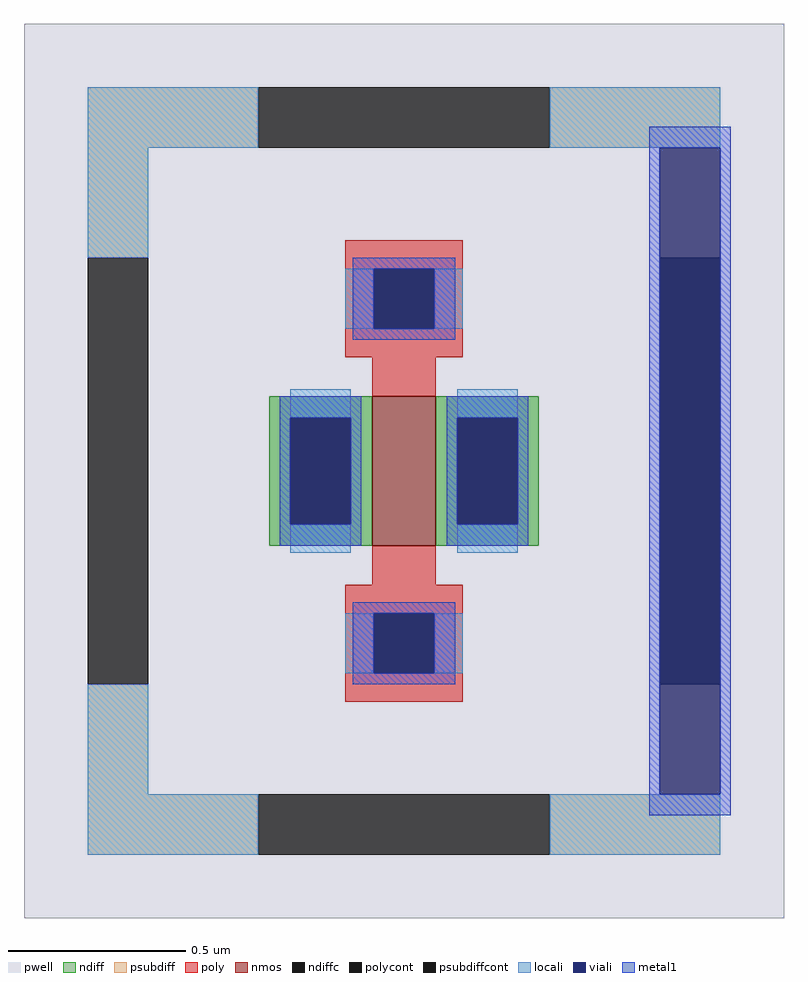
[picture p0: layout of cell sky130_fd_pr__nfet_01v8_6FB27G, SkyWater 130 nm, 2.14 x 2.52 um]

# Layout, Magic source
magic
tech sky130A
magscale 1 2
<< pwell >>
rect -214 -252 214 252
<< nmos >>
rect -18 -42 18 42
<< ndiff >>
rect -76 30 -18 42
rect -76 -30 -64 30
rect -30 -30 -18 30
rect -76 -42 -18 -30
rect 18 30 76 42
rect 18 -30 30 30
rect 64 -30 76 30
rect 18 -42 76 -30
<< ndiffc >>
rect -64 -30 -30 30
rect 30 -30 64 30
<< psubdiff >>
rect -178 182 -82 216
rect 82 182 178 216
rect -178 120 -144 182
rect 144 120 178 182
rect -178 -182 -144 -120
rect 144 -182 178 -120
rect -178 -216 -82 -182
rect 82 -216 178 -182
<< psubdiffcont >>
rect -82 182 82 216
rect -178 -120 -144 120
rect 144 -120 178 120
rect -82 -216 82 -182
<< poly >>
rect -33 114 33 130
rect -33 80 -17 114
rect 17 80 33 114
rect -33 64 33 80
rect -18 42 18 64
rect -18 -64 18 -42
rect -33 -80 33 -64
rect -33 -114 -17 -80
rect 17 -114 33 -80
rect -33 -130 33 -114
<< polycont >>
rect -17 80 17 114
rect -17 -114 17 -80
<< locali >>
rect -178 182 -82 216
rect 82 182 178 216
rect -178 120 -144 182
rect -33 80 -17 114
rect 17 80 33 114
rect -64 30 -30 46
rect -64 -46 -30 -30
rect 30 30 64 46
rect 30 -46 64 -30
rect -33 -114 -17 -80
rect 17 -114 33 -80
rect -178 -182 -144 -120
rect -178 -216 -82 -182
rect 82 -216 178 -182
<< viali >>
rect 144 120 178 182
rect -17 80 17 114
rect -64 -30 -30 30
rect 30 -30 64 30
rect -17 -114 17 -80
rect 144 -120 178 120
rect 144 -182 178 -120
<< metal1 >>
rect 138 182 184 194
rect -29 114 29 120
rect -29 80 -17 114
rect 17 80 29 114
rect -29 74 29 80
rect -70 30 -24 42
rect -70 -30 -64 30
rect -30 -30 -24 30
rect -70 -42 -24 -30
rect 24 30 70 42
rect 24 -30 30 30
rect 64 -30 70 30
rect 24 -42 70 -30
rect -29 -80 29 -74
rect -29 -114 -17 -80
rect 17 -114 29 -80
rect -29 -120 29 -114
rect 138 -182 144 182
rect 178 -182 184 182
rect 138 -194 184 -182
<< properties >>
string FIXED_BBOX -161 -199 161 199
string gencell sky130_fd_pr__nfet_01v8
string library sky130
string parameters w 0.42 l 0.18 m 1 nf 1 diffcov 100 polycov 100 guard 1 glc 1 grc 1 gtc 1 gbc 1 tbcov 100 rlcov 100 topc 1 botc 1 poverlap 0 doverlap 1 lmin 0.15 wmin 0.42 compatible {sky130_fd_pr__nfet_01v8 sky130_fd_pr__nfet_01v8_lvt  sky130_fd_bs_flash__special_sonosfet_star  sky130_fd_pr__nfet_g5v0d10v5 sky130_fd_pr__nfet_05v0_nvt  sky130_fd_pr__nfet_03v3_nvt} full_metal 1 viasrc 100 viadrn 100 viagate 100 viagb 0 viagr 100 viagl 0 viagt 0
<< end >>
